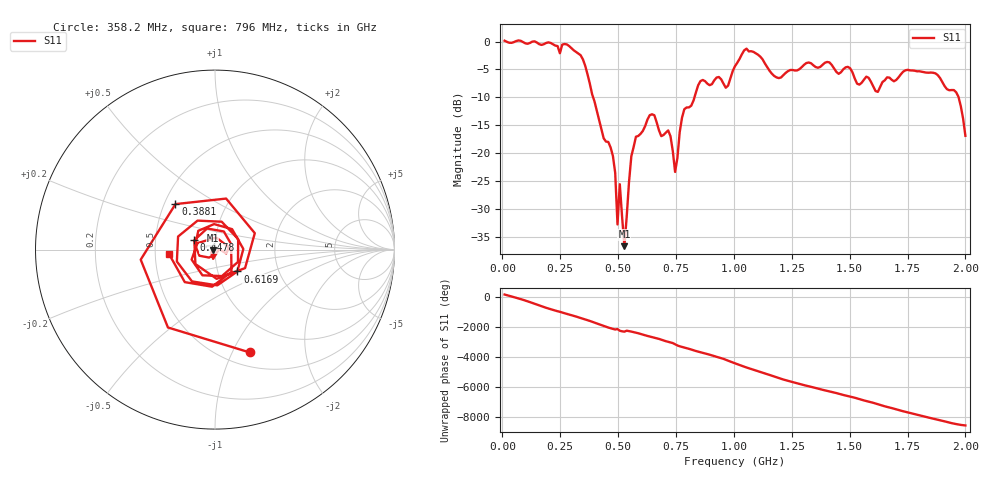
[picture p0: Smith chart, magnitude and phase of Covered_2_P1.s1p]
!Created with skrf (http://scikit-rf.org).
# Hz S RI R 50.0
!freq ReS11 ImS11
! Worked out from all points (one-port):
!   201 points, 10 MHz to 2 GHz, reference 50 ohm
!   lowest |S11| = -36.7 dB at 527.4 MHz (marker M1), VSWR 1.03, Z = 48.6 - j0.437 ohm
!   |S11| at or under -10 dB: 392.3 MHz to 830 MHz (437.8 MHz wide, 71.6 % of centre); 1.971 GHz to end of sweep
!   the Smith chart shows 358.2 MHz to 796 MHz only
!   S11 on the Smith chart (normalised r, x): 358.2 MHz: 0.65, -1.17; 388.1 MHz: 0.57, +0.33; 447.8 MHz: 0.79, +0.08; 617 MHz: 1.24, -0.31; 796 MHz: 0.59, -0.03
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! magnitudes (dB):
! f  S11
! 10 MHz  0.1
! 258.8 MHz  -0.6
! 358.2 MHz  -4.4
! 388.1 MHz  -9.5
! 447.8 MHz  -17.9
! 477.6 MHz  -20.5
! 487.6 MHz  -23.5
! 497.6 MHz  -32.8
! 507.5 MHz  -25.6
! 527.4 MHz  -36.7
! 557.2 MHz  -20.6
! 617 MHz  -15.2
! 656.8 MHz  -13.2
! 726.4 MHz  -17.0
! 746.3 MHz  -23.4
! 756.2 MHz  -20.9
! 776.1 MHz  -13.7
! 796 MHz  -11.8
! 855.8 MHz  -7.1
! 1.005 GHz  -4.4
! 1.055 GHz  -1.3
! 1.184 GHz  -6.4
! 1.254 GHz  -5.1
! 1.502 GHz  -4.8
! 1.622 GHz  -9.0
! 1.751 GHz  -5.1
! 1.96 GHz  -9.1
! 2 GHz  -16.9
